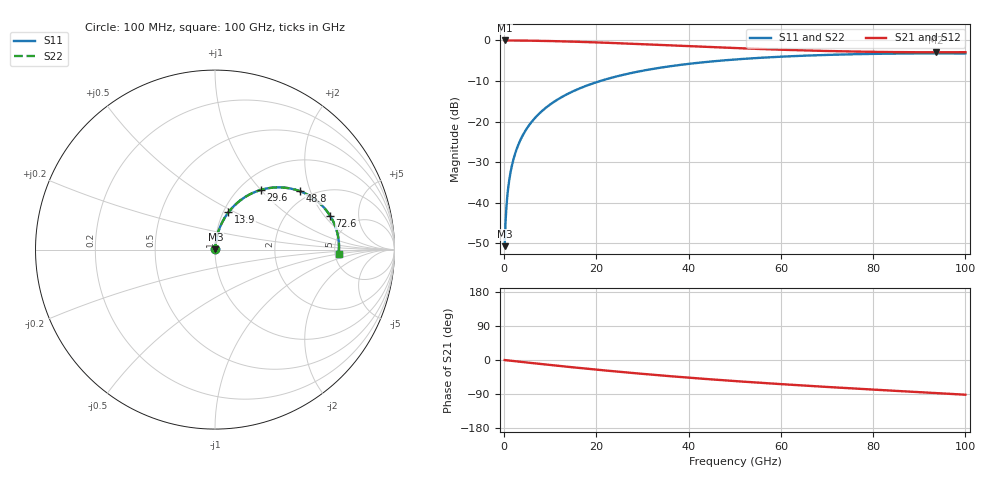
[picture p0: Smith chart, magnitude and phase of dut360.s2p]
! Touchstone file exported from HFSS 2026.1.0
!  File:  C:/ffzhzh/LocalFiles/Ansys_Project_Files/temp_train_RDL_360_1783503373_9504.aedt
!  Generated:  05:37:27 PM Jul  8, 2026
!  Design:  RDL
!  Project:  temp_train_RDL_360_1783503373_9504
! Variables:
!  h_bsmrdl = 2um
!  h_ox = 20um
!  h_rdl = 5um
!  h_sub = 80um
!  h_tmrdl = 3.78um
!  h_tsv = 80um
!  h_via = 3um
!  l_bsmrdl = 300um
!  l_sub = 696.06um
!  l_tmrdl = 296.06um
!  m_sub = 200um
!  pitch = 47.87um
!  r_tsv = 6um
!  s_tmrdl = 10um
!  w_bsmrdl = 18um
!  w_sub = 500um
!  w_tmrdl = 12.52um
!  x_tsv_center1 = 302.32um
!  x_tsv_center2 = 620.32um
!  x_tsv_center3 = 928.9um
!  x_tsv_center4 = 1246.9um
!  x_tsv_center5 = 1555.48um
!  x_tsv_center6 = 1873.48um
# GHz S MA R 50.000000
! Terminal data exported
! Port[1] = TM_RDL1_1_T1
! Port[2] = TM_RDL1_1_T2
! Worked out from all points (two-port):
!   1000 points, 100 MHz to 100 GHz, reference 50 ohm
!   highest |S21| = -0.02 dB at 100 MHz (marker M1); lowest = -2.9 dB at 93.6 GHz (marker M2)
!   |S21| within 3 dB of the highest: start of sweep to end of sweep
!   lowest |S11| = -50.7 dB at 100 MHz (marker M3), VSWR 1.01, Z = 50.2 + j0.176 ohm
!   |S11| at or under -10 dB: start of sweep to 20.86 GHz
!   |S22| runs from -50.7 to -3.2 dB; largest |S21 - S12| = 8.2e-15
!   S11 on the Smith chart (normalised r, x): 100 MHz: 1.00, +0.00; 13.9 GHz: 1.06, +0.46; 29.6 GHz: 1.24, +1.00; 48.8 GHz: 1.75, +1.70; 72.6 GHz: 3.37, +2.30; 100 GHz: 5.39, -0.49
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0.1  0.002917 36.9  0.9977 -0.1  0.9977 -0.1  0.002917 36.9
! Gamma 0 0 0 0
! Port Impedance 50 0 50 0
0.4  0.007362 69.9  0.9975 -0.5  0.9975 -0.5  0.007362 69.9
0.8  0.01393 78.1  0.9973 -1.1  0.9973 -1.1  0.01393 78.1
1.3  0.02223 81.2  0.997 -1.8  0.997 -1.8  0.02223 81.2
1.7  0.0289 82.1  0.9968 -2.3  0.9968 -2.3  0.0289 82.1
2.2  0.03724 82.5  0.9964 -3.0  0.9964 -3.0  0.03724 82.5
3.5  0.05885 82.1  0.995 -4.7  0.995 -4.7  0.05885 82.1
5.2  0.08675 80.5  0.9923 -6.9  0.9923 -6.9  0.08675 80.5
7.5  0.1237 77.8  0.9875 -9.9  0.9875 -9.9  0.1237 77.8
10.4  0.1688 74.3  0.9798 -13.7  0.9798 -13.7  0.1688 74.3
13.9  0.2209 70.2  0.9684 -18.1  0.9684 -18.1  0.2209 70.2
16.8  0.2621 66.8  0.9575 -21.6  0.9575 -21.6  0.2621 66.7
22.6  0.3382 60.1  0.9326 -28.4  0.9326 -28.4  0.3382 60.1
29.6  0.4182 52.6  0.8992 -36.2  0.8992 -36.2  0.4182 52.6
33.4  0.4563 48.7  0.8804 -40.1  0.8804 -40.1  0.4563 48.7
48.8  0.5741 34.5  0.8091 -54.5  0.8091 -54.5  0.5742 34.5
50.1  0.5817 33.4  0.8037 -55.6  0.8037 -55.6  0.5817 33.4
66.7  0.6529 20.6  0.7481 -68.7  0.7481 -68.7  0.6529 20.6
72.6  0.6684 16.4  0.7346 -73.0  0.7346 -73.0  0.6684 16.4
83.4  0.6861 9.0  0.7185 -80.4  0.7185 -80.4  0.6861 9.0
93.6  0.6913 2.3  0.7136 -87.3  0.7136 -87.3  0.6913 2.2
100  0.6891 -2.0  0.7156 -91.6  0.7156 -91.6  0.6891 -2.0
